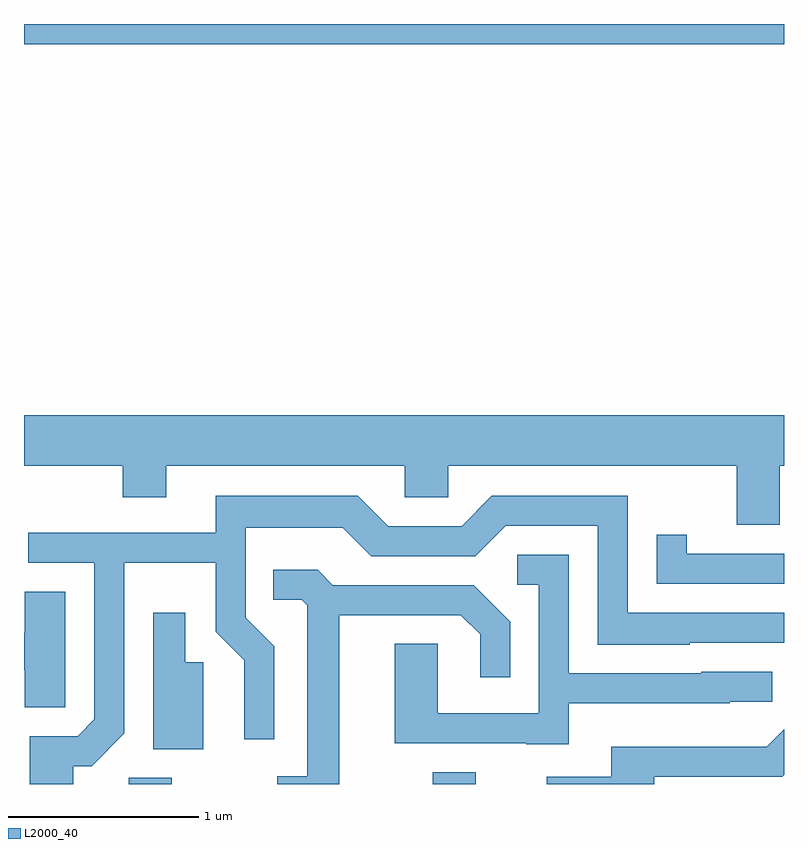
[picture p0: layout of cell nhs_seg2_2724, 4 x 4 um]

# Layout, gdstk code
import gdstk
lib = gdstk.Library(unit=1e-6, precision=1e-09)
def R(c, l, rs):  # rectangles x0, y0, x1, y1
    for r in rs: c.add(gdstk.rectangle(r[:2], r[2:], *l))
def P(c, l, *ps):  # polygons
    for p in ps: c.add(gdstk.Polygon(p, *l))
L2000_40 = (2000, 40)

nhs_seg2_2724 = lib.new_cell('nhs_seg2_2724')
R(nhs_seg2_2724, L2000_40, [(266.161,997.802,266.389,997.834), (267.761,997.802,267.989,997.864), (265.611,1001.696,269.611,1001.802)])
P(nhs_seg2_2724, L2000_40, [(269.589,999.476),(269.611,999.476),(269.611,999.744),(265.611,999.744),(265.611,999.476),(266.131,999.476),(266.131,999.311),(266.359,999.311),(266.359,999.476),(267.616,999.476),(267.616,999.311),(267.844,999.311),(267.844,999.476),(269.361,999.476),(269.361,999.166),(269.589,999.166)],
  [(265.869,997.896),(265.967,997.896),(266.139,998.069),(266.139,998.966),(266.621,998.966),(266.621,998.604),(266.771,998.454),(266.771,998.038),(266.929,998.038),(266.929,998.527),(266.779,998.677),(266.779,999.151),(267.289,999.151),(267.439,999.001),(267.987,999.001),(268.147,999.161),(268.631,999.161),(268.631,998.536),(269.115,998.536),(269.115,998.546),(269.611,998.546),(269.611,998.704),(268.789,998.704),(268.789,999.319),(268.074,999.319),(267.914,999.159),(267.527,999.159),(267.367,999.319),(266.621,999.319),(266.621,999.124),(265.633,999.124),(265.633,998.966),(265.981,998.966),(265.981,998.142),(265.894,998.054),(265.641,998.054),(265.641,997.802),(265.869,997.802)],
  [(269.611,999.014),(269.099,999.014),(269.099,999.113),(268.941,999.113),(268.941,998.856),(269.611,998.856)],
  [(268.479,998.226),(269.325,998.226),(269.325,998.236),(269.548,998.236),(269.548,998.394),(269.175,998.394),(269.175,998.384),(268.479,998.384),(268.479,999.009),(268.208,999.009),(268.208,998.851),(268.321,998.851),(268.321,998.174),(267.789,998.174),(267.789,998.539),(267.561,998.539),(267.561,998.016),(268.255,998.016),(268.255,998.011),(268.479,998.011)],
  [(267.269,998.691),(267.909,998.691),(268.011,998.589),(268.011,998.363),(268.169,998.363),(268.169,998.657),(267.977,998.849),(267.237,998.849),(267.157,998.929),(266.923,998.929),(266.923,998.771),(267.074,998.771),(267.101,998.744),(267.101,997.844),(266.943,997.844),(266.943,997.802),(267.269,997.802)],
  [(265.829,998.814),(265.616,998.814),(265.616,998.599),(265.611,998.599),(265.611,998.401),(265.616,998.401),(265.616,998.206),(265.829,998.206)],
  [(266.554,998.444),(266.459,998.444),(266.459,998.703),(266.291,998.703),(266.291,997.986),(266.554,997.986)],
  [(268.929,997.841),(269.602,997.841),(269.611,997.85),(269.611,998.091),(269.519,997.999),(268.701,997.999),(268.701,997.839),(268.363,997.839),(268.363,997.802),(268.929,997.802)])

lib.write_gds('nhs_seg2_2724.gds')
